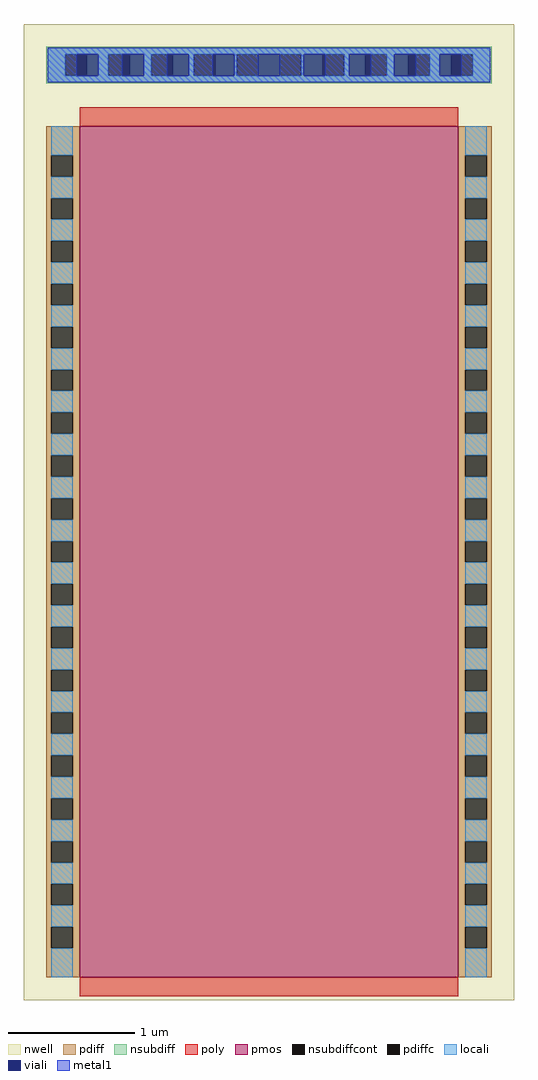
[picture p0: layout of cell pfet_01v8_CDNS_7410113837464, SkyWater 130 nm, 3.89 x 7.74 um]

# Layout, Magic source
magic
tech sky130A
magscale 1 2
<< nwell >>
rect -89 -36 689 1512
<< pmos >>
rect 0 0 600 1350
<< pdiff >>
rect -53 1304 0 1350
rect -53 1270 -45 1304
rect -11 1270 0 1304
rect -53 1236 0 1270
rect -53 1202 -45 1236
rect -11 1202 0 1236
rect -53 1168 0 1202
rect -53 1134 -45 1168
rect -11 1134 0 1168
rect -53 1100 0 1134
rect -53 1066 -45 1100
rect -11 1066 0 1100
rect -53 1032 0 1066
rect -53 998 -45 1032
rect -11 998 0 1032
rect -53 964 0 998
rect -53 930 -45 964
rect -11 930 0 964
rect -53 896 0 930
rect -53 862 -45 896
rect -11 862 0 896
rect -53 828 0 862
rect -53 794 -45 828
rect -11 794 0 828
rect -53 760 0 794
rect -53 726 -45 760
rect -11 726 0 760
rect -53 692 0 726
rect -53 658 -45 692
rect -11 658 0 692
rect -53 624 0 658
rect -53 590 -45 624
rect -11 590 0 624
rect -53 556 0 590
rect -53 522 -45 556
rect -11 522 0 556
rect -53 488 0 522
rect -53 454 -45 488
rect -11 454 0 488
rect -53 420 0 454
rect -53 386 -45 420
rect -11 386 0 420
rect -53 352 0 386
rect -53 318 -45 352
rect -11 318 0 352
rect -53 284 0 318
rect -53 250 -45 284
rect -11 250 0 284
rect -53 216 0 250
rect -53 182 -45 216
rect -11 182 0 216
rect -53 148 0 182
rect -53 114 -45 148
rect -11 114 0 148
rect -53 80 0 114
rect -53 46 -45 80
rect -11 46 0 80
rect -53 0 0 46
rect 600 1304 653 1350
rect 600 1270 611 1304
rect 645 1270 653 1304
rect 600 1236 653 1270
rect 600 1202 611 1236
rect 645 1202 653 1236
rect 600 1168 653 1202
rect 600 1134 611 1168
rect 645 1134 653 1168
rect 600 1100 653 1134
rect 600 1066 611 1100
rect 645 1066 653 1100
rect 600 1032 653 1066
rect 600 998 611 1032
rect 645 998 653 1032
rect 600 964 653 998
rect 600 930 611 964
rect 645 930 653 964
rect 600 896 653 930
rect 600 862 611 896
rect 645 862 653 896
rect 600 828 653 862
rect 600 794 611 828
rect 645 794 653 828
rect 600 760 653 794
rect 600 726 611 760
rect 645 726 653 760
rect 600 692 653 726
rect 600 658 611 692
rect 645 658 653 692
rect 600 624 653 658
rect 600 590 611 624
rect 645 590 653 624
rect 600 556 653 590
rect 600 522 611 556
rect 645 522 653 556
rect 600 488 653 522
rect 600 454 611 488
rect 645 454 653 488
rect 600 420 653 454
rect 600 386 611 420
rect 645 386 653 420
rect 600 352 653 386
rect 600 318 611 352
rect 645 318 653 352
rect 600 284 653 318
rect 600 250 611 284
rect 645 250 653 284
rect 600 216 653 250
rect 600 182 611 216
rect 645 182 653 216
rect 600 148 653 182
rect 600 114 611 148
rect 645 114 653 148
rect 600 80 653 114
rect 600 46 611 80
rect 645 46 653 80
rect 600 0 653 46
<< pdiffc >>
rect -45 1270 -11 1304
rect -45 1202 -11 1236
rect -45 1134 -11 1168
rect -45 1066 -11 1100
rect -45 998 -11 1032
rect -45 930 -11 964
rect -45 862 -11 896
rect -45 794 -11 828
rect -45 726 -11 760
rect -45 658 -11 692
rect -45 590 -11 624
rect -45 522 -11 556
rect -45 454 -11 488
rect -45 386 -11 420
rect -45 318 -11 352
rect -45 250 -11 284
rect -45 182 -11 216
rect -45 114 -11 148
rect -45 46 -11 80
rect 611 1270 645 1304
rect 611 1202 645 1236
rect 611 1134 645 1168
rect 611 1066 645 1100
rect 611 998 645 1032
rect 611 930 645 964
rect 611 862 645 896
rect 611 794 645 828
rect 611 726 645 760
rect 611 658 645 692
rect 611 590 645 624
rect 611 522 645 556
rect 611 454 645 488
rect 611 386 645 420
rect 611 318 645 352
rect 611 250 645 284
rect 611 182 645 216
rect 611 114 645 148
rect 611 46 645 80
<< nsubdiff >>
rect -53 1464 653 1476
rect -53 1430 -23 1464
rect 11 1430 45 1464
rect 79 1430 113 1464
rect 147 1430 181 1464
rect 215 1430 249 1464
rect 283 1430 317 1464
rect 351 1430 385 1464
rect 419 1430 453 1464
rect 487 1430 521 1464
rect 555 1430 589 1464
rect 623 1430 653 1464
rect -53 1418 653 1430
<< nsubdiffcont >>
rect -23 1430 11 1464
rect 45 1430 79 1464
rect 113 1430 147 1464
rect 181 1430 215 1464
rect 249 1430 283 1464
rect 317 1430 351 1464
rect 385 1430 419 1464
rect 453 1430 487 1464
rect 521 1430 555 1464
rect 589 1430 623 1464
<< poly >>
rect 0 1350 600 1380
rect 0 -30 600 0
<< locali >>
rect -51 1464 651 1474
rect -51 1430 -23 1464
rect 29 1430 45 1464
rect 101 1430 113 1464
rect 173 1430 181 1464
rect 245 1430 249 1464
rect 351 1430 355 1464
rect 419 1430 427 1464
rect 487 1430 499 1464
rect 555 1430 571 1464
rect 623 1430 651 1464
rect -51 1420 651 1430
rect -45 1304 -11 1350
rect -45 1236 -11 1270
rect -45 1168 -11 1202
rect -45 1100 -11 1134
rect -45 1032 -11 1066
rect -45 964 -11 998
rect -45 896 -11 930
rect -45 828 -11 862
rect -45 760 -11 794
rect -45 692 -11 726
rect -45 624 -11 658
rect -45 556 -11 590
rect -45 488 -11 522
rect -45 420 -11 454
rect -45 352 -11 386
rect -45 284 -11 318
rect -45 216 -11 250
rect -45 148 -11 182
rect -45 80 -11 114
rect -45 0 -11 46
rect 611 1304 645 1350
rect 611 1236 645 1270
rect 611 1168 645 1202
rect 611 1100 645 1134
rect 611 1032 645 1066
rect 611 964 645 998
rect 611 896 645 930
rect 611 828 645 862
rect 611 760 645 794
rect 611 692 645 726
rect 611 624 645 658
rect 611 556 645 590
rect 611 488 645 522
rect 611 420 645 454
rect 611 352 645 386
rect 611 284 645 318
rect 611 216 645 250
rect 611 148 645 182
rect 611 80 645 114
rect 611 0 645 46
<< viali >>
rect -5 1430 11 1464
rect 11 1430 29 1464
rect 67 1430 79 1464
rect 79 1430 101 1464
rect 139 1430 147 1464
rect 147 1430 173 1464
rect 211 1430 215 1464
rect 215 1430 245 1464
rect 283 1430 317 1464
rect 355 1430 385 1464
rect 385 1430 389 1464
rect 427 1430 453 1464
rect 453 1430 461 1464
rect 499 1430 521 1464
rect 521 1430 533 1464
rect 571 1430 589 1464
rect 589 1430 605 1464
<< metal1 >>
rect -51 1464 651 1474
rect -51 1430 -5 1464
rect 29 1430 67 1464
rect 101 1430 139 1464
rect 173 1430 211 1464
rect 245 1430 283 1464
rect 317 1430 355 1464
rect 389 1430 427 1464
rect 461 1430 499 1464
rect 533 1430 571 1464
rect 605 1430 651 1464
rect -51 1420 651 1430
<< end >>
